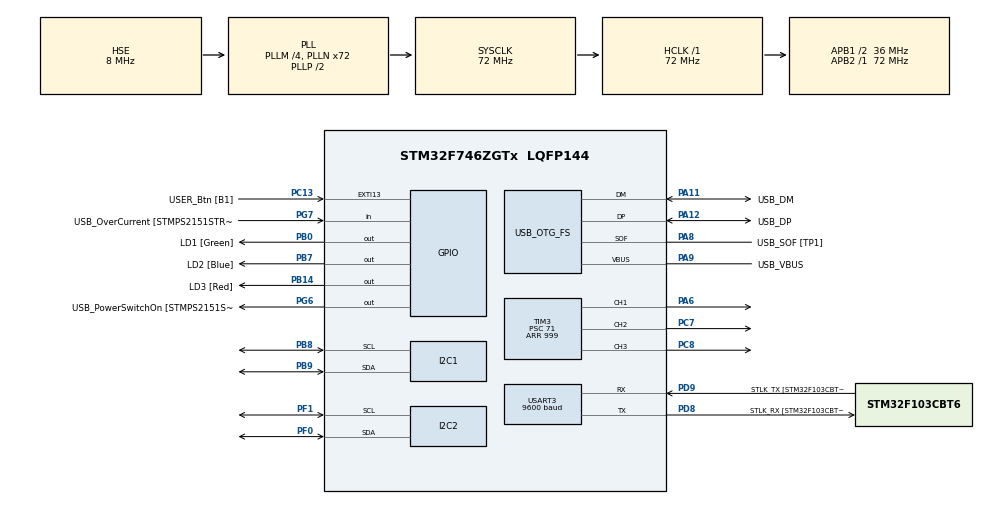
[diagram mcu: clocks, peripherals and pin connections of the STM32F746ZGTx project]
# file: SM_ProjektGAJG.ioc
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I2C1.Timing=0x00808CD2
I2C2.Timing=0x00808CD2
Mcu.Family=STM32F7
Mcu.Name=STM32F746ZGTx
Mcu.Package=LQFP144
NVIC.EXTI15_10_IRQn=true\:0\:0\:false\:false\:true\:true\:true
NVIC.I2C1_ER_IRQn=true\:0\:0\:false\:false\:true\:true\:true
NVIC.I2C1_EV_IRQn=true\:0\:0\:false\:false\:true\:true\:true
NVIC.I2C2_ER_IRQn=true\:0\:0\:false\:false\:true\:true\:true
NVIC.I2C2_EV_IRQn=true\:0\:0\:false\:false\:true\:true\:true
NVIC.PriorityGroup=NVIC_PRIORITYGROUP_4
NVIC.TIM2_IRQn=true\:0\:0\:false\:false\:true\:true\:true
NVIC.TIM3_IRQn=true\:0\:0\:false\:false\:true\:true\:true
NVIC.USART3_IRQn=true\:0\:0\:false\:false\:true\:true\:true
PA1.GPIO_Label=RMII_REF_CLK [LAN8742A-CZ-TR_REFCLK0]
PA1.Signal=ETH_REF_CLK
PA10.GPIO_Label=USB_ID
PA10.Signal=USB_OTG_FS_ID
PA11.GPIO_Label=USB_DM
PA11.Mode=Device_Only
PA11.Signal=USB_OTG_FS_DM
PA12.GPIO_Label=USB_DP
PA12.Mode=Device_Only
PA12.Signal=USB_OTG_FS_DP
PA13.GPIO_Label=TMS
PA13.Mode=Serial_Wire
PA13.Signal=SYS_JTMS-SWDIO
PA14.GPIO_Label=TCK
PA14.Mode=Serial_Wire
PA14.Signal=SYS_JTCK-SWCLK
PA2.GPIO_Label=RMII_MDIO [LAN8742A-CZ-TR_MDIO]
PA2.Signal=ETH_MDIO
PA6.Signal=S_TIM3_CH1
PA7.GPIO_Label=RMII_CRS_DV [LAN8742A-CZ-TR_CRS_DV]
PA7.Signal=ETH_CRS_DV
PA8.GPIO_Label=USB_SOF [TP1]
PA8.Mode=Activate_SOF_FS
PA8.Signal=USB_OTG_FS_SOF
PA9.GPIO_Label=USB_VBUS
PA9.Mode=Activate_VBUS
PA9.Signal=USB_OTG_FS_VBUS
PB0.GPIO_Label=LD1 [Green]
PB0.Signal=GPIO_Output
PB13.GPIO_Label=RMII_TXD1 [LAN8742A-CZ-TR_TXD1]
PB13.Signal=ETH_TXD1
PB14.GPIO_Label=LD3 [Red]
PB14.Signal=GPIO_Output
PB3.GPIO_Label=SW0
PB3.Signal=SYS_JTDO-SWO
PB7.GPIO_Label=LD2 [Blue]
PB7.Signal=GPIO_Output
PB8.Mode=I2C
PB8.Signal=I2C1_SCL
PB9.Mode=I2C
PB9.Signal=I2C1_SDA
PC1.GPIO_Label=RMII_MDC [LAN8742A-CZ-TR_MDC]
PC1.Signal=ETH_MDC
PC13.GPIO_Label=USER_Btn [B1]
PC13.Signal=GPXTI13
PC14/OSC32_IN.Mode=LSE-External-Oscillator
PC14/OSC32_IN.Signal=RCC_OSC32_IN
PC15/OSC32_OUT.Mode=LSE-External-Oscillator
PC15/OSC32_OUT.Signal=RCC_OSC32_OUT
PC4.GPIO_Label=RMII_RXD0 [LAN8742A-CZ-TR_RXD0]
PC4.Signal=ETH_RXD0
PC5.GPIO_Label=RMII_RXD1 [LAN8742A-CZ-TR_RXD1]
PC5.Signal=ETH_RXD1
PC7.Signal=S_TIM3_CH2
PC8.Signal=S_TIM3_CH3
PD8.GPIO_Label=STLK_RX [STM32F103CBT6_PA3]
PD8.Mode=Asynchronous
PD8.Signal=USART3_TX
PD9.GPIO_Label=STLK_TX [STM32F103CBT6_PA2]
PD9.Mode=Asynchronous
PD9.Signal=USART3_RX
PF0.Mode=I2C
PF0.Signal=I2C2_SDA
PF1.Mode=I2C
PF1.Signal=I2C2_SCL
PG11.GPIO_Label=RMII_TX_EN [LAN8742A-CZ-TR_TXEN]
PG11.Signal=ETH_TX_EN
PG13.GPIO_Label=RMII_TXD0 [LAN8742A-CZ-TR_TXD0]
PG13.Signal=ETH_TXD0
PG6.GPIO_Label=USB_PowerSwitchOn [STMPS2151STR_EN]
PG6.Signal=GPIO_Output
PG7.GPIO_Label=USB_OverCurrent [STMPS2151STR_FAULT]
PG7.Signal=GPIO_Input
PH0/OSC_IN.GPIO_Label=MCO [STM32F103CBT6_PA8]
PH0/OSC_IN.Mode=HSE-External-Clock-Source
PH0/OSC_IN.Signal=RCC_OSC_IN
PH1/OSC_OUT.Mode=HSE-External-Clock-Source
PH1/OSC_OUT.Signal=RCC_OSC_OUT
ProjectManager.HeapSize=0x200
ProjectManager.StackSize=0x400
ProjectManager.TargetToolchain=STM32CubeIDE
RCC.48MHZClocksFreq_Value=24000000
RCC.AHBFreq_Value=72000000
RCC.APB1CLKDivider=RCC_HCLK_DIV2
RCC.APB1Freq_Value=36000000
RCC.APB1TimFreq_Value=72000000
RCC.APB2Freq_Value=72000000
RCC.APB2TimFreq_Value=72000000
RCC.CortexFreq_Value=72000000
RCC.HCLKFreq_Value=72000000
RCC.HSE_VALUE=8000000
RCC.HSI_VALUE=16000000
RCC.PLLM=4
RCC.PLLMUL=RCC_PLL_MUL9
RCC.PLLN=72
RCC.PLLQ=3
RCC.PRESCALERUSB=RCC_USBCLKSOURCE_PLL_DIV1_5
RCC.SYSCLKFreq_VALUE=72000000
RCC.SYSCLKSource=RCC_SYSCLKSOURCE_PLLCLK
RCC.SYSCLKSourceVirtual=RCC_SYSCLKSOURCE_PLLCLK
RCC.USBFreq_Value=48000000
RCC.VCOOutputFreq_Value=144000000
SH.S_TIM3_CH1.0=TIM3_CH1,PWM Generation1 CH1
SH.S_TIM3_CH2.0=TIM3_CH2,PWM Generation2 CH2
SH.S_TIM3_CH3.0=TIM3_CH3,PWM Generation3 CH3
TIM2.Period=9999
TIM2.Prescaler=3599
TIM3.Channel-PWM\ Generation1\ CH1=TIM_CHANNEL_1
TIM3.Channel-PWM\ Generation2\ CH2=TIM_CHANNEL_2
TIM3.Channel-PWM\ Generation3\ CH3=TIM_CHANNEL_3
TIM3.Period=999
TIM3.Prescaler=71
TIM3.Pulse-PWM\ Generation1\ CH1=500
TIM3.Pulse-PWM\ Generation2\ CH2=500
TIM3.Pulse-PWM\ Generation3\ CH3=500
USART3.BaudRate=9600
USART3.VirtualMode-Asynchronous=VM_ASYNC
USB_OTG_FS.VirtualMode=Device_Only
VP_TIM2_VS_ClockSourceINT.Mode=Internal
VP_TIM3_VS_ClockSourceINT.Mode=Internal
board=NUCLEO-F746ZG

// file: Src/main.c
/* USER CODE BEGIN Header */
/**
  ******************************************************************************
  * @file           : main.c
  * @brief          : Main program body
  ******************************************************************************
  * @attention
  *
  * <h2><center>&copy; Copyright (c) 2019 STMicroelectronics.
  * All rights reserved.</center></h2>
  *
  * This software component is licensed by ST under BSD 3-Clause license,
  * the "License"; You may not use this file except in compliance with the
  * License. You may obtain a copy of the License at:
  *                        opensource.org/licenses/BSD-3-Clause
  *
  ******************************************************************************
  */
/* USER CODE END Header */

#include "main.h"
#include "i2c.h"
#include "tim.h"
#include "usart.h"
#include "usb_otg.h"
#include "gpio.h"

/* USER CODE BEGIN Includes */
#include "bh1750.h"
#include "i2c-lcd.h"
#include <stdio.h>
#include <string.h>
#include <stdlib.h>
/* USER CODE END Includes */

/* USER CODE BEGIN PV */

int BH1750_int;                   //Aktualna wartość natężenia światła
int lx_zadana_int;                //Zadana wartość natężenia światła
int duty;                         //Wypełnienie PWM regulowane w zakresie 0-1000
int uchyb;                        //Uchyb regulacji
int kontrola_znaku;				  //Zmienna kontrolująca błąd w zadawnej wartości
int transmit_size_lx;             //Rozmiar wysyłanego komunikatu o natężeniu
int transmit_size_error;          //Rozmiar wysyłanego komunikatu o błędzie
const int receive_size = 4;       //Oczekiwany rozmiar odbieranej wiadmości
char bufor_lx[200];               //Bufor na wysyłany komunikat o natężeniu
char bufor_error[200];            //Bufor na wysyłany komunikat o błędzie
char lx_zadana_char[4];           //Bufor na odebraną wartość zadaną
char lx_lcd[20];                  //Bufor na wartość dla wyświetlacza
HAL_StatusTypeDef port_status;    //Status odbioru

/* USER CODE END PV */

void SystemClock_Config(void);

/* USER CODE BEGIN 0 */

/* Obsługa transmisji komunikatu o błędzie
 * W przypadku niepoprawnego znaku w wartości zadanej
 * wyświetlany jest odpowiedni komunikat  */
void transmisja_error()
{
	transmit_size_error = sprintf(bufor_error, "Blad wartosci zadanej!!\n\r");
	HAL_UART_Transmit(&huart3, (uint8_t*)bufor_error, transmit_size_error, 100);
}

/* Obsługa przerwania w przypadku odbioru przez UART
 * Funkcja odczytuje wartość zadaną wpisując do bufora(tablica znaków)
 * oraz konwertuje na wartość całkowitoliczbową(int)
 * Dodatkowo zaimplementowana została odporność na błędy
 * w postaci niepoprawnego znaku w wartości zadanej  */
void HAL_UART_RxCpltCallback(UART_HandleTypeDef *huart)
{
	for (int i=0; i<4; i++)
	{
		if(lx_zadana_char[i] > 47 && lx_zadana_char[i] < 58)
		{
			kontrola_znaku = 1;
		}
		else
		{
			kontrola_znaku = 0;
			break;
		}
	}
	if(kontrola_znaku)
	{
		lx_zadana_int = atoi(lx_zadana_char);
	}
	else
	{
		transmisja_error();
		memset(lx_zadana_char, 0, sizeof(lx_zadana_char));
	}
	port_status = HAL_UART_Receive_IT(&huart3, (uint8_t*)lx_zadana_char, receive_size);
}

/* Obsługa transmisji danych przez interfejs UART
 * Funkcja zapisuje zadany tekst do bufora
 * oraz wysyła wiadomość przez interfejs UART  */
void transmisja_danych()
{
	transmit_size_lx = sprintf(bufor_lx, "Natezenie swiatla [lux]: %d\n\r", BH1750_int);
	HAL_UART_Transmit(&huart3, (uint8_t*)bufor_lx, transmit_size_lx, 100);
}

/* Regulacja histerezowa
 * Funkcja porównuje wartość zadaną oraz odczytaną z czujnika
 * oraz reguluje wypełnienie PWM, w zależności od uchybu  */
void regulacja()
{
	if(uchyb > 70)
	{
		if (BH1750_int <= lx_zadana_int && duty <= 1000)
		{
			duty +=10;
			TIM3->CCR3=duty;
		}
		else if (BH1750_int > lx_zadana_int && duty > 0)
		{
			duty -=10;
			TIM3->CCR3=duty;
		}
	}

	if(uchyb <= 70)
	{
		if (BH1750_int <= lx_zadana_int && duty <= 1000)
		{
			 duty +=1;
			 TIM3->CCR3=duty;
		}
		else if (BH1750_int > lx_zadana_int && duty > 0)
		{
			 duty -=1;
			 TIM3->CCR3=duty;
		}
	}
}

/* USER CODE END 0 */

int main(void)
{

  /* MCU Configuration--------------------------------------------------------*/

  /* Reset of all peripherals, Initializes the Flash interface and the Systick. */
  HAL_Init();

  /* Configure the system clock */
  SystemClock_Config();

  /* Initialize all configured peripherals */
  MX_GPIO_Init();
  MX_USART3_UART_Init();
  MX_USB_OTG_FS_PCD_Init();
  MX_I2C1_Init();
  MX_TIM2_Init();
  MX_TIM3_Init();
  MX_I2C2_Init();
  /* USER CODE BEGIN 2 */
  BH1750_Init();                            //inicjalizacja czujnika
  lcd_init();								//inicjalizacja wyświetlacza
  HAL_TIM_PWM_Start(&htim3, TIM_CHANNEL_3); //wystartowanie PWM
  TIM3->CCR3 = 0;                           //ustalenie startowej wartości wypełnienia
  lcd_put_cur(0, 5);                        //umieszczenie kursora wyświetlacza w zadanej pozycji
  lcd_send_string("lx");                    //wysłanie symbolu jednostki na wyświetlacz

  //Jednorazowe wywołanie odbioru danych przez UART
  port_status = HAL_UART_Receive_IT(&huart3, (uint8_t*)lx_zadana_char, receive_size);

  /* USER CODE END 2 */

  /* Infinite loop */
  /* USER CODE BEGIN WHILE */
  while (1)
  {
	  BH1750_int=(int)BH1750_Receive();            //Odczyt wartości natężenia światła z czujnika
	  transmisja_danych();                         //Transmisja komunikatu w terminalu
	  itoa(BH1750_int, lx_lcd, 10);                //Konwersja odczytanej wartości int do string
	  lcd_put_cur(0, 0);                           //Umieszczenie kursora na wyświetlaczu w zadanym punkcie
	  lcd_send_string(lx_lcd);                     //Wysyłanie wartości natężenia na wyświetlacz, jako ciąg znaków
	  HAL_Delay(500);                              //Odczekanie 0.5s(regulowana częstotliwość wysyłania)
	  uchyb = abs(lx_zadana_int - BH1750_int);     //Obliczenie uchybu
	  regulacja();                                 //Regulacja natężenia światła

    /* USER CODE END WHILE */

  }
}

void SystemClock_Config(void)
{
  RCC_OscInitTypeDef RCC_OscInitStruct = {0};
  RCC_ClkInitTypeDef RCC_ClkInitStruct = {0};
  RCC_PeriphCLKInitTypeDef PeriphClkInitStruct = {0};

  /** Configure LSE Drive Capability
  */
  HAL_PWR_EnableBkUpAccess();
  /** Configure the main internal regulator output voltage
  */
  __HAL_RCC_PWR_CLK_ENABLE();
  __HAL_PWR_VOLTAGESCALING_CONFIG(PWR_REGULATOR_VOLTAGE_SCALE3);
  /** Initializes the CPU, AHB and APB busses clocks
  */
  RCC_OscInitStruct.OscillatorType = RCC_OSCILLATORTYPE_HSE;
  RCC_OscInitStruct.HSEState = RCC_HSE_BYPASS;
  RCC_OscInitStruct.PLL.PLLState = RCC_PLL_ON;
  RCC_OscInitStruct.PLL.PLLSource = RCC_PLLSOURCE_HSE;
  RCC_OscInitStruct.PLL.PLLM = 4;
  RCC_OscInitStruct.PLL.PLLN = 72;
  RCC_OscInitStruct.PLL.PLLP = RCC_PLLP_DIV2;
  RCC_OscInitStruct.PLL.PLLQ = 3;
  if (HAL_RCC_OscConfig(&RCC_OscInitStruct) != HAL_OK)
  {
    Error_Handler();
  }
  /** Initializes the CPU, AHB and APB busses clocks
  */
  RCC_ClkInitStruct.ClockType = RCC_CLOCKTYPE_HCLK|RCC_CLOCKTYPE_SYSCLK
                              |RCC_CLOCKTYPE_PCLK1|RCC_CLOCKTYPE_PCLK2;
  RCC_ClkInitStruct.SYSCLKSource = RCC_SYSCLKSOURCE_PLLCLK;
  RCC_ClkInitStruct.AHBCLKDivider = RCC_SYSCLK_DIV1;
  RCC_ClkInitStruct.APB1CLKDivider = RCC_HCLK_DIV2;
  RCC_ClkInitStruct.APB2CLKDivider = RCC_HCLK_DIV1;

  if (HAL_RCC_ClockConfig(&RCC_ClkInitStruct, FLASH_LATENCY_2) != HAL_OK)
  {
    Error_Handler();
  }
  PeriphClkInitStruct.PeriphClockSelection = RCC_PERIPHCLK_USART3|RCC_PERIPHCLK_I2C1
                              |RCC_PERIPHCLK_I2C2|RCC_PERIPHCLK_CLK48;
  PeriphClkInitStruct.Usart3ClockSelection = RCC_USART3CLKSOURCE_PCLK1;
  PeriphClkInitStruct.I2c1ClockSelection = RCC_I2C1CLKSOURCE_PCLK1;
  PeriphClkInitStruct.I2c2ClockSelection = RCC_I2C2CLKSOURCE_PCLK1;
  PeriphClkInitStruct.Clk48ClockSelection = RCC_CLK48SOURCE_PLL;
  if (HAL_RCCEx_PeriphCLKConfig(&PeriphClkInitStruct) != HAL_OK)
  {
    Error_Handler();
  }
}

void Error_Handler(void)
{
}

/************************ (C) COPYRIGHT STMicroelectronics *****END OF FILE****/
